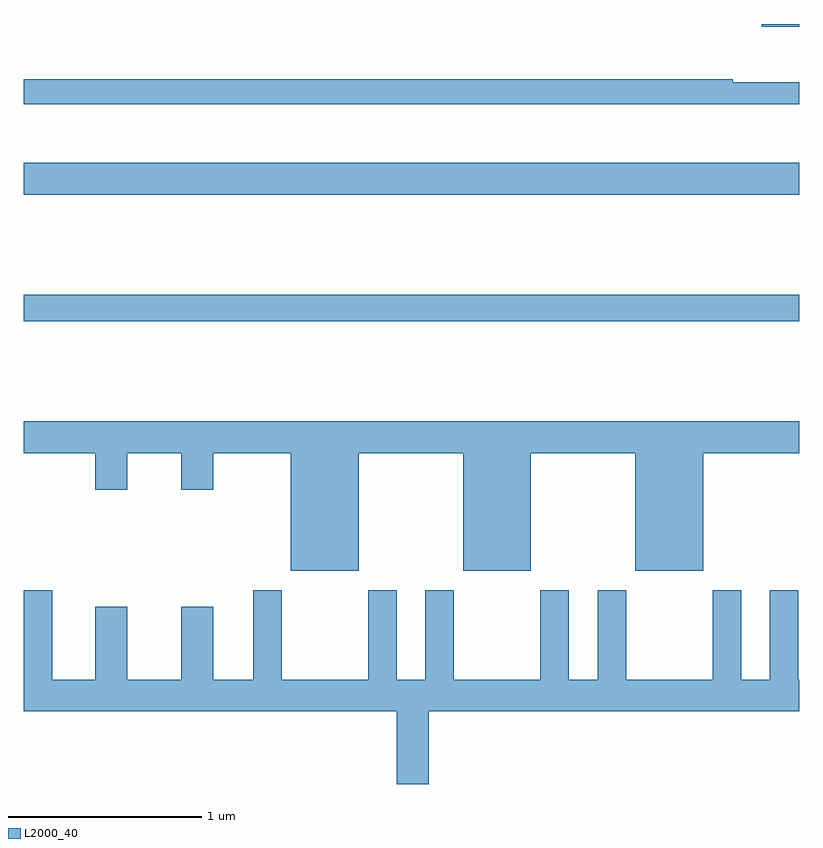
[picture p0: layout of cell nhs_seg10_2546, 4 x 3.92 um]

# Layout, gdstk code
import gdstk
lib = gdstk.Library(unit=1e-6, precision=1e-09)
def R(c, l, rs):  # rectangles x0, y0, x1, y1
    for r in rs: c.add(gdstk.rectangle(r[:2], r[2:], *l))
def P(c, l, *ps):  # polygons
    for p in ps: c.add(gdstk.Polygon(p, *l))
L2000_40 = (2000, 40)

nhs_seg10_2546 = lib.new_cell('nhs_seg10_2546')
R(nhs_seg10_2546, L2000_40, [(247,1328.968,251,1329.104), (247,1329.62,251,1329.784), (250.806,1330.487,251,1330.5)])
P(nhs_seg10_2546, L2000_40, [(251,1330.199),(250.655,1330.199),(250.655,1330.214),(247,1330.214),(247,1330.086),(251,1330.086)],
  [(248.728,1328.288),(249.266,1328.288),(249.266,1327.682),(249.616,1327.682),(249.616,1328.288),(250.154,1328.288),(250.154,1327.682),(250.504,1327.682),(250.504,1328.288),(251,1328.288),(251,1328.452),(247,1328.452),(247,1328.288),(247.37,1328.288),(247.37,1328.1),(247.534,1328.1),(247.534,1328.288),(247.814,1328.288),(247.814,1328.1),(247.978,1328.1),(247.978,1328.288),(248.378,1328.288),(248.378,1327.682),(248.728,1327.682)],
  [(249.088,1326.956),(251,1326.956),(251,1327.12),(250.995,1327.12),(250.995,1327.582),(250.847,1327.582),(250.847,1327.12),(250.699,1327.12),(250.699,1327.582),(250.552,1327.582),(250.552,1327.12),(250.107,1327.12),(250.107,1327.582),(249.959,1327.582),(249.959,1327.12),(249.811,1327.12),(249.811,1327.582),(249.664,1327.582),(249.664,1327.12),(249.219,1327.12),(249.219,1327.582),(249.071,1327.582),(249.071,1327.12),(248.923,1327.12),(248.923,1327.582),(248.776,1327.582),(248.776,1327.12),(248.331,1327.12),(248.331,1327.582),(248.183,1327.582),(248.183,1327.12),(247.978,1327.12),(247.978,1327.495),(247.814,1327.495),(247.814,1327.12),(247.534,1327.12),(247.534,1327.495),(247.37,1327.495),(247.37,1327.12),(247.147,1327.12),(247.147,1327.582),(247,1327.582),(247,1326.956),(248.924,1326.956),(248.924,1326.582),(249.088,1326.582)])

lib.write_gds('nhs_seg10_2546.gds')
